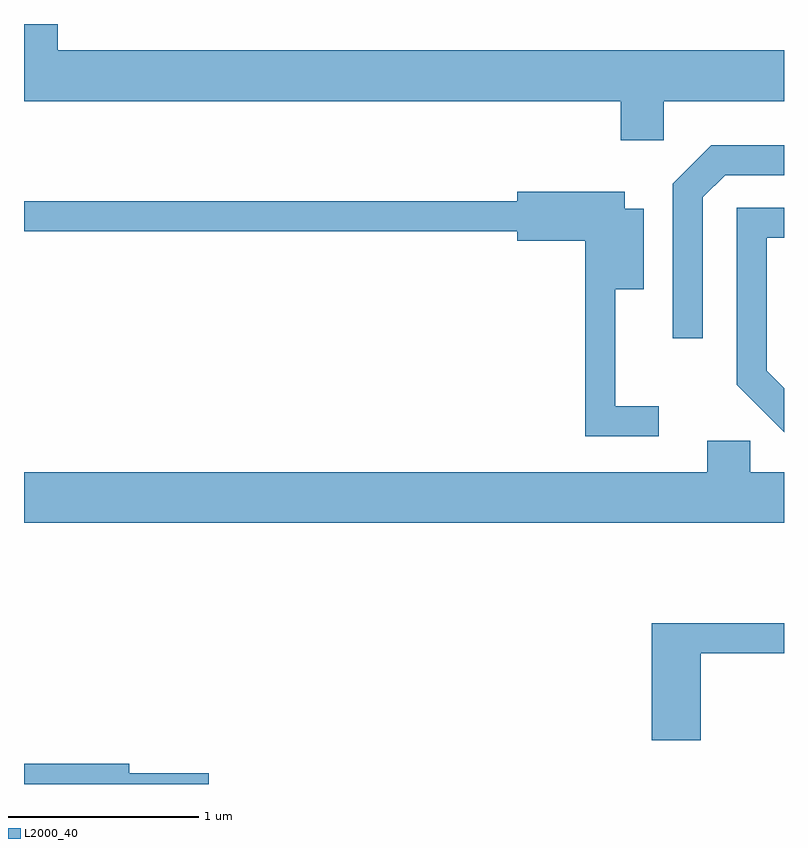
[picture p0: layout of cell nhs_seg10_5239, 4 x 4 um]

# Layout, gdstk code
import gdstk
lib = gdstk.Library(unit=1e-6, precision=1e-09)
def P(c, l, *ps):  # polygons
    for p in ps: c.add(gdstk.Polygon(p, *l))
L2000_40 = (2000, 40)

nhs_seg10_5239 = lib.new_cell('nhs_seg10_5239')
P(nhs_seg10_5239, L2000_40, [(342.979,2136.116),(343.611,2136.116),(343.611,2136.384),(339.789,2136.384),(339.789,2136.522),(339.611,2136.522),(339.611,2136.116),(342.751,2136.116),(342.751,2135.911),(342.979,2135.911)],
  [(343.184,2135.609),(343.302,2135.726),(343.611,2135.726),(343.611,2135.884),(343.229,2135.884),(343.026,2135.682),(343.026,2134.868),(343.184,2134.868)],
  [(342.953,2134.509),(342.724,2134.509),(342.724,2135.126),(342.874,2135.126),(342.874,2135.549),(342.774,2135.549),(342.774,2135.639),(342.206,2135.639),(342.206,2135.589),(339.611,2135.589),(339.611,2135.431),(342.206,2135.431),(342.206,2135.381),(342.566,2135.381),(342.566,2134.351),(342.953,2134.351)],
  [(343.611,2134.605),(343.519,2134.697),(343.519,2135.396),(343.611,2135.396),(343.611,2135.554),(343.361,2135.554),(343.361,2134.624),(343.611,2134.374)],
  [(343.611,2134.164),(343.434,2134.164),(343.434,2134.329),(343.206,2134.329),(343.206,2134.164),(339.611,2134.164),(339.611,2133.896),(343.611,2133.896)],
  [(343.174,2133.211),(343.611,2133.211),(343.611,2133.369),(342.916,2133.369),(342.916,2132.751),(343.174,2132.751)],
  [(340.584,2132.579),(340.164,2132.579),(340.164,2132.629),(339.611,2132.629),(339.611,2132.522),(340.584,2132.522)])

lib.write_gds('nhs_seg10_5239.gds')
